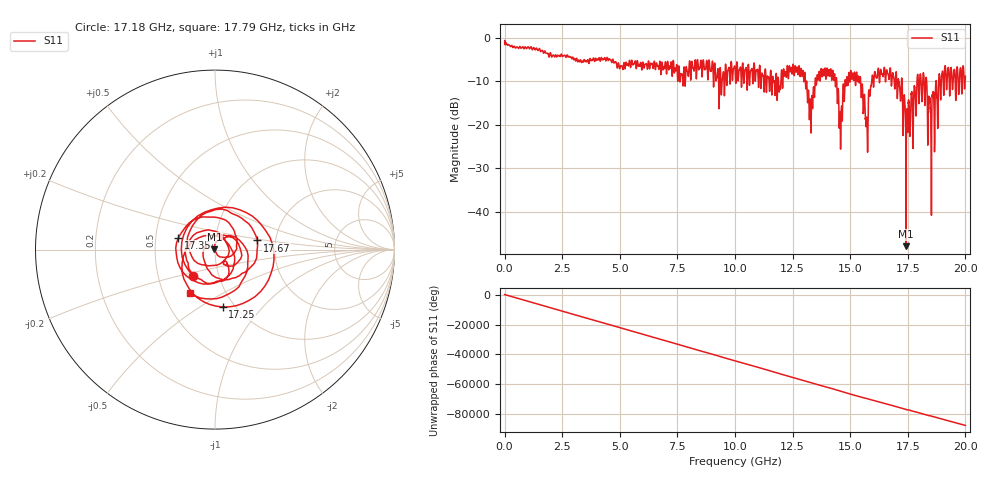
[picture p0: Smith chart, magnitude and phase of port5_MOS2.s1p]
! MS46122B
! 2250307/22442219
! 6/16/2025 7:52:46 AM
! C:\USERS\SPARKY\DOCUMENTS\VNA_DATA\JUNE16_2025\3.1K\PORT5_MOS2.S1P
! CHANNEL.1
! TR.MEASUREMENT
! RAW.DATA
# GHZ S RI R 50.0
! FREQ.GHZ  S11RE  S11IM
!; PortSelection: Port_1
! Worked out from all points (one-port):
!   10001 points, 1 MHz to 20 GHz, reference 50 ohm
!   lowest |S11| = -47.9 dB at 17.43 GHz (marker M1), VSWR 1.01, Z = 49.7 + j0.243 ohm
!   |S11| at or under -10 dB: 15.45 GHz to 15.93 GHz (480.7 MHz wide, 3.06 % of centre); 17.25 GHz to 17.9 GHz (648.1 MHz wide, 3.69 % of centre); 18.32 GHz to 18.72 GHz (400.9 MHz wide, 2.16 % of centre) (the widest 3 of 62)
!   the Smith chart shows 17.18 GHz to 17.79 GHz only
!   S11 on the Smith chart (normalised r, x): 17.18 GHz: 0.75, -0.23; 17.25 GHz: 0.88, -0.63; 17.35 GHz: 0.66, +0.09; 17.67 GHz: 1.61, +0.17; 17.79 GHz: 0.68, -0.36
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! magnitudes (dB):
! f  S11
! 1 MHz  -0.9
! 2.501 GHz  -4.2
! 5.001 GHz  -7.1
! 7.501 GHz  -8.5
! 9.383 GHz  -9.1
! 10 GHz  -7.0
! 11.9 GHz  -11.0
! 12.5 GHz  -7.1
! 12.95 GHz  -7.6
! 13.29 GHz  -20.4
! 13.66 GHz  -7.7
! 14.23 GHz  -7.6
! 14.58 GHz  -25.5
! 15 GHz  -8.9
! 15.36 GHz  -8.8
! 15.67 GHz  -18.5
! 16.14 GHz  -9.2
! 17.18 GHz  -14.4
! 17.25 GHz  -9.8
! 17.35 GHz  -13.4
! 17.43 GHz  -47.9
! 17.5 GHz  -21.8
! 17.67 GHz  -12.4
! 17.79 GHz  -11.1
! 18.11 GHz  -14.6
! 18.58 GHz  -13.4
! 19.06 GHz  -13.0
! 20 GHz  -8.9
